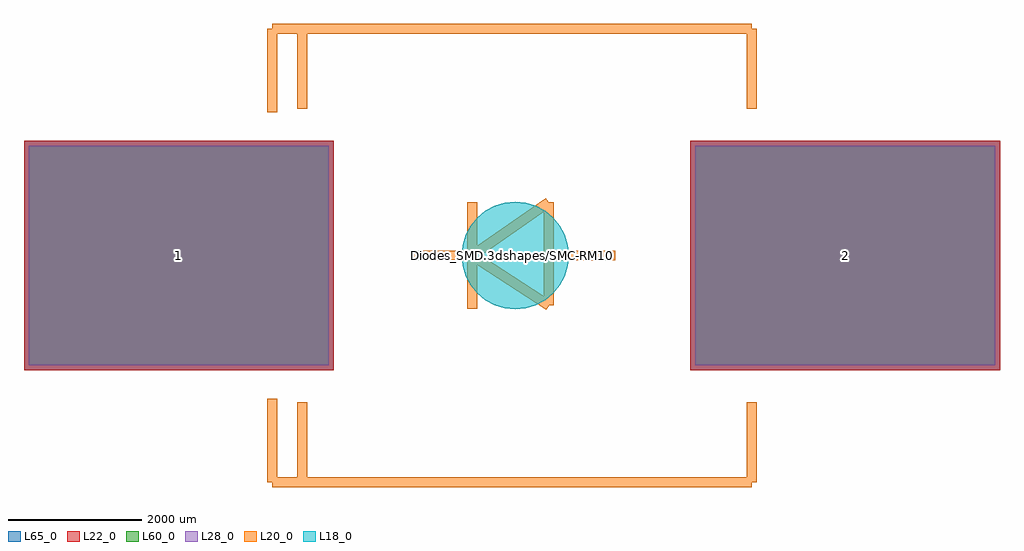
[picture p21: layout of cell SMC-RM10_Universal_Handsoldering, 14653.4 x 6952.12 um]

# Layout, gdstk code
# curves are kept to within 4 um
import gdstk
lib = gdstk.Library(unit=1e-6, precision=1e-09)
def R(c, l, rs):  # rectangles x0, y0, x1, y1
    for r in rs: c.add(gdstk.rectangle(r[:2], r[2:], *l))
def P(c, l, *ps):  # polygons
    for p in ps: c.add(gdstk.Polygon(p, *l))
L18_0 = (18, 0)
L20_0 = (20, 0)
L22_0 = (22, 0)
L28_0 = (28, 0)
L60_0 = (60, 0)
L65_0 = (65, 0)

smc_rm10_universal_hands = lib.new_cell('SMC-RM10_Universal_Handsoldering')
P(smc_rm10_universal_hands, L18_0, [(199.86,0),(188.453,57.349),(155.967,105.967),(107.349,138.453),(50,149.86),(-7.349,138.453),(-55.967,105.967),(-88.453,57.349),(-99.86,0),(-88.453,-57.349),(-55.967,-105.967),(-7.349,-138.453),(50,-149.86),(107.349,-138.453),(155.967,-105.967),(188.453,-57.349)],
  [(550.38,0),(540.765,97.619),(512.291,191.487),(466.051,277.996),(403.822,353.822),(327.996,416.051),(241.487,462.291),(147.619,490.765),(50,500.38),(-47.619,490.765),(-141.487,462.291),(-227.996,416.051),(-303.822,353.822),(-366.051,277.996),(-412.291,191.487),(-440.765,97.619),(-450.38,0),(-440.765,-97.619),(-412.291,-191.487),(-366.051,-277.996),(-303.822,-353.822),(-227.996,-416.051),(-141.487,-462.291),(-47.619,-490.765),(50,-500.38),(147.619,-490.765),(241.487,-462.291),(327.996,-416.051),(403.822,-353.822),(466.051,-277.996),(512.291,-191.487),(540.765,-97.619)],
  [(856.208,0),(840.717,157.283),(794.839,308.522),(720.337,447.905),(620.075,570.075),(497.905,670.337),(358.522,744.839),(207.283,790.717),(50,806.208),(-107.283,790.717),(-258.522,744.839),(-397.905,670.337),(-520.075,570.075),(-620.337,447.905),(-694.839,308.522),(-740.717,157.283),(-756.208,0),(-740.717,-157.283),(-694.839,-308.522),(-620.337,-447.905),(-520.075,-570.075),(-397.905,-670.337),(-258.522,-744.839),(-107.283,-790.717),(50,-806.208),(207.283,-790.717),(358.522,-744.839),(497.905,-670.337),(620.075,-570.075),(720.337,-447.905),(794.839,-308.522),(840.717,-157.283)])
R(smc_rm10_universal_hands, L22_0, [(-7326.7,-1724.73,-2675.82,1724.73), (2675.82,-1724.73,7326.7,1724.73)])
R(smc_rm10_universal_hands, L28_0, [(-7251.7,-1649.73,-2750.82,1649.73), (2750.82,-1649.73,7251.7,1649.73)])
R(smc_rm10_universal_hands, L60_0, [(-7251.7,-1649.73,-2750.82,1649.73), (2750.82,-1649.73,7251.7,1649.73)])
R(smc_rm10_universal_hands, L65_0, [(-7326.7,-1724.73,-2675.82,1724.73), (2675.82,-1724.73,7326.7,1724.73)])
smc_rm10_universal_hands.add(gdstk.FlexPath([(-3599.18,3401.06),(3599.18,3401.06)], 149.998, ends="flush", simple_path=True, layer=20, datatype=0))  # L20_0
smc_rm10_universal_hands.add(gdstk.FlexPath([(-3599.18,-3401.06),(3599.18,-3401.06)], 149.998, ends="flush", simple_path=True, layer=20, datatype=0))  # L20_0
smc_rm10_universal_hands.add(gdstk.FlexPath([(-597.7,0),(552.92,800.1)], 149.998, ends="flush", simple_path=True, layer=20, datatype=0))  # L20_0
smc_rm10_universal_hands.add(gdstk.FlexPath([(-597.7,0),(552.92,-749.3)], 149.998, ends="flush", simple_path=True, layer=20, datatype=0))  # L20_0
smc_rm10_universal_hands.add(gdstk.FlexPath([(552.92,-749.3),(552.92,800.1)], 149.998, ends="flush", simple_path=True, layer=20, datatype=0))  # L20_0
smc_rm10_universal_hands.add(gdstk.FlexPath([(-597.7,800.1),(-597.7,-800.1)], 149.998, ends="flush", simple_path=True, layer=20, datatype=0))  # L20_0
smc_rm10_universal_hands.add(gdstk.FlexPath([(-3599.18,3401.06),(-3599.18,2148.84)], 149.998, ends="flush", simple_path=True, layer=20, datatype=0))  # L20_0
smc_rm10_universal_hands.add(gdstk.FlexPath([(-3599.18,-3401.06),(-3599.18,-2148.84)], 149.998, ends="flush", simple_path=True, layer=20, datatype=0))  # L20_0
smc_rm10_universal_hands.add(gdstk.FlexPath([(3599.18,3401.06),(3599.18,2199.64)], 149.998, ends="flush", simple_path=True, layer=20, datatype=0))  # L20_0
smc_rm10_universal_hands.add(gdstk.FlexPath([(3599.18,-3401.06),(3599.18,-2199.64)], 149.998, ends="flush", simple_path=True, layer=20, datatype=0))  # L20_0
smc_rm10_universal_hands.add(gdstk.FlexPath([(-3149.46,3401.06),(-3149.46,2199.64)], 149.998, ends="flush", simple_path=True, layer=20, datatype=0))  # L20_0
smc_rm10_universal_hands.add(gdstk.FlexPath([(-3149.46,-3401.06),(-3149.46,-2199.64)], 149.998, ends="flush", simple_path=True, layer=20, datatype=0))  # L20_0
smc_rm10_universal_hands.add(gdstk.FlexPath([(552.92,0),(1551.14,0)], 149.998, ends="flush", simple_path=True, layer=20, datatype=0))  # L20_0
smc_rm10_universal_hands.add(gdstk.FlexPath([(-597.7,0),(-1499.4,0)], 149.998, ends="flush", simple_path=True, layer=20, datatype=0))  # L20_0
smc_rm10_universal_hands.add(gdstk.Label('Diodes_SMD.3dshapes/SMC-RM10_Universal_Handsoldering.wrl', (0,0), layer=12, texttype=0))
smc_rm10_universal_hands.add(gdstk.Label('2', (5001.26,0), layer=28, texttype=0))
smc_rm10_universal_hands.add(gdstk.Label('1', (-5001.26,0), layer=28, texttype=0))
smc_rm10_universal_hands.add(gdstk.Label('type', (0,-5080), layer=9, texttype=0))
smc_rm10_universal_hands.add(gdstk.Label('devicename', (0,5080), layer=9, texttype=0))

lib.write_gds('SMC-RM10_Universal_Handsoldering.gds')
